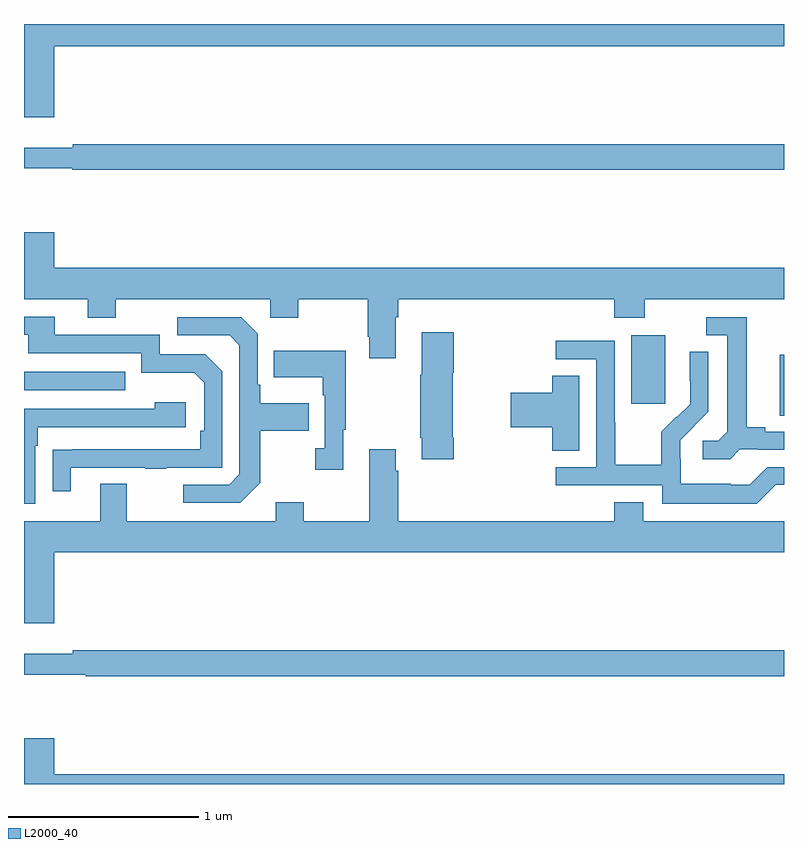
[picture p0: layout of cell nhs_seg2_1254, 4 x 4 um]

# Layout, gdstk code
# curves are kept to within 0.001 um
import gdstk
lib = gdstk.Library(unit=1e-6, precision=1e-09)
def R(c, l, rs):  # rectangles x0, y0, x1, y1
    for r in rs: c.add(gdstk.rectangle(r[:2], r[2:], *l))
def P(c, l, *ps):  # polygons
    for p in ps: c.add(gdstk.Polygon(p, *l))
L2000_40 = (2000, 40)

nhs_seg2_1254 = lib.new_cell('nhs_seg2_1254')
R(nhs_seg2_1254, L2000_40, [(180.977,597.739,181,598.059), (180.197,597.801,180.376,598.162), (177,597.873,177.533,597.969)])
P(nhs_seg2_1254, L2000_40, [(177.16,599.684),(181,599.684),(181,599.8),(177,599.8),(177,599.31),(177.16,599.31)],
  [(181,599.168),(177.256,599.168),(177.256,599.149),(177,599.149),(177,599.04),(177.254,599.04),(177.254,599.032),(181,599.032)],
  [(177.16,598.705),(177,598.705),(177,598.352),(177.335,598.352),(177.335,598.253),(177.483,598.253),(177.483,598.352),(178.296,598.352),(178.296,598.253),(178.443,598.253),(178.443,598.352),(178.81,598.352),(178.81,598.153),(178.817,598.153),(178.817,598.041),(178.957,598.041),(178.957,598.256),(178.97,598.256),(178.97,598.352),(180.107,598.352),(180.107,598.253),(180.267,598.253),(180.267,598.352),(181,598.352),(181,598.516),(177.16,598.516)],
  [(177.247,597.465),(177.637,597.465),(177.637,597.46),(177.749,597.46),(177.749,597.465),(178.044,597.465),(178.044,597.972),(177.954,598.062),(177.714,598.062),(177.714,598.164),(177.163,598.164),(177.163,598.26),(177,598.26),(177,598.164),(177.023,598.164),(177.023,598.068),(177.618,598.068),(177.618,597.965),(177.895,597.965),(177.948,597.912),(177.948,597.658),(177.928,597.658),(177.928,597.561),(177.151,597.56),(177.151,597.342),(177.247,597.342)],
  [(180.768,597.561),(180.862,597.561),(180.862,597.558),(181,597.558),(181,597.654),(180.901,597.654),(180.901,597.677),(180.805,597.677),(180.805,598.257),(180.591,598.257),(180.591,598.161),(180.701,598.161),(180.701,597.653),(180.654,597.606),(180.573,597.606),(180.573,597.509),(180.716,597.509)],
  [(178.243,597.385),(178.243,597.658),(178.499,597.658),(178.499,597.805),(178.243,597.805),(178.243,597.901),(178.23,597.901),(178.23,598.17),(178.143,598.257),(177.807,598.257),(177.807,598.161),(178.083,598.161),(178.134,598.11),(178.134,597.429),(178.08,597.375),(177.837,597.375),(177.837,597.279),(178.137,597.279)],
  [(179.261,597.622),(179.256,597.622),(179.256,597.964),(179.261,597.964),(179.261,598.177),(179.093,598.177),(179.093,597.953),(179.086,597.953),(179.086,597.622),(179.093,597.622),(179.093,597.51),(179.261,597.51)],
  [(180.957,597.375),(181,597.375),(181,597.468),(180.912,597.468),(180.819,597.375),(180.719,597.375),(180.719,597.379),(180.456,597.379),(180.456,597.513),(180.454,597.513),(180.454,597.61),(180.6,597.758),(180.6,598.076),(180.504,598.076),(180.504,597.922),(180.506,597.922),(180.506,597.8),(180.435,597.729),(180.432,597.732),(180.355,597.655),(180.355,597.481),(180.111,597.481),(180.111,597.704),(180.108,597.704),(180.108,598.134),(179.799,598.134),(179.799,598.035),(180.012,598.035),(180.012,597.468),(179.799,597.468),(179.799,597.372),(180.36,597.372),(180.36,597.275),(180.857,597.275)],
  [(178.681,597.665),(178.693,597.665),(178.693,598.081),(178.315,598.081),(178.315,597.941),(178.572,597.941),(178.572,597.845),(178.584,597.845),(178.584,597.566),(178.533,597.566),(178.533,597.453),(178.681,597.453)],
  [(179.923,597.95),(179.78,597.95),(179.78,597.86),(179.562,597.86),(179.562,597.677),(179.78,597.677),(179.78,597.553),(179.923,597.553)],
  [(177.06,597.581),(177.073,597.581),(177.073,597.678),(177.85,597.678),(177.85,597.808),(177.689,597.808),(177.689,597.774),(177,597.774),(177,597.276),(177.06,597.276)],
  [(177.16,597.02),(181,597.02),(181,597.184),(180.259,597.184),(180.259,597.283),(180.107,597.283),(180.107,597.184),(178.97,597.184),(178.97,597.449),(178.957,597.449),(178.957,597.562),(178.817,597.562),(178.817,597.184),(178.473,597.184),(178.473,597.283),(178.325,597.283),(178.325,597.184),(177.541,597.184),(177.541,597.379),(177.401,597.379),(177.401,597.184),(177,597.184),(177,596.646),(177.16,596.646)],
  [(181,596.504),(177.256,596.504),(177.256,596.485),(177,596.485),(177,596.376),(177.326,596.376),(177.326,596.368),(181,596.368)],
  [(181,595.852),(177.16,595.852),(177.16,596.041),(177,596.041),(177,595.8),(181,595.8)])

lib.write_gds('nhs_seg2_1254.gds')
